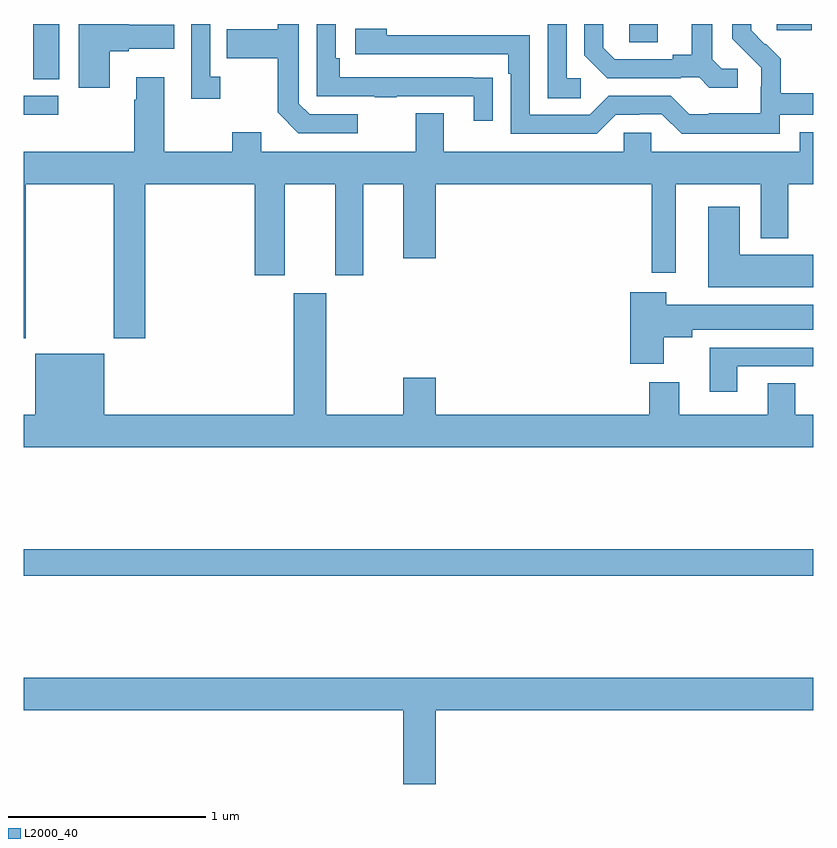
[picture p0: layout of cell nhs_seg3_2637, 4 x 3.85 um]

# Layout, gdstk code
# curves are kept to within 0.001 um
import gdstk
lib = gdstk.Library(unit=1e-6, precision=1e-09)
def R(c, l, rs):  # rectangles x0, y0, x1, y1
    for r in rs: c.add(gdstk.rectangle(r[:2], r[2:], *l))
def P(c, l, *ps):  # polygons
    for p in ps: c.add(gdstk.Polygon(p, *l))
L2000_40 = (2000, 40)

nhs_seg3_2637 = lib.new_cell('nhs_seg3_2637')
R(nhs_seg3_2637, L2000_40, [(247,693.604,251,693.74), (247,695.94,247.174,696.036), (247.049,696.121,247.18,696.4), (250.068,696.307,250.213,696.4), (250.814,696.369,250.993,696.4)])
P(nhs_seg3_2637, L2000_40, [(250.618,696.174),(250.536,696.174),(250.489,696.221),(250.489,696.4),(250.385,696.4),(250.385,696.245),(250.289,696.245),(250.289,696.222),(249.994,696.222),(249.937,696.279),(249.937,696.4),(249.84,696.4),(249.84,696.242),(249.956,696.126),(250.328,696.126),(250.328,696.129),(250.422,696.129),(250.474,696.077),(250.618,696.077)],
  [(249.377,696.128),(249.275,696.128),(249.275,696.129),(248.6,696.129),(248.6,696.226),(248.58,696.226),(248.58,696.4),(248.484,696.4),(248.484,696.033),(248.779,696.033),(248.779,696.028),(248.891,696.028),(248.891,696.033),(249.281,696.033),(249.281,695.91),(249.377,695.91)],
  [(249.823,696.126),(249.75,696.126),(249.75,696.4),(249.654,696.4),(249.654,696.025),(249.823,696.025)],
  [(248.692,695.943),(248.448,695.943),(248.394,695.997),(248.394,696.4),(248.286,696.4),(248.286,696.373),(248.029,696.373),(248.029,696.226),(248.286,696.226),(248.286,695.953),(248.391,695.847),(248.692,695.847)],
  [(247.996,696.134),(247.944,696.134),(247.944,696.4),(247.848,696.4),(247.848,696.021),(247.996,696.021)],
  [(247.435,696.263),(247.531,696.263),(247.531,696.275),(247.762,696.275),(247.762,696.397),(247.531,696.397),(247.531,696.4),(247.28,696.4),(247.28,696.078),(247.435,696.078)],
  [(250.83,695.94),(251,695.94),(251,696.049),(250.835,696.049),(250.835,696.223),(250.758,696.3),(250.755,696.297),(250.685,696.368),(250.685,696.4),(250.59,696.4),(250.59,696.326),(250.736,696.178),(250.736,696.081),(250.734,696.081),(250.734,695.947),(250.471,695.947),(250.471,695.943),(250.371,695.943),(250.278,696.036),(249.963,696.036),(249.867,695.94),(249.564,695.94),(249.564,696.342),(248.84,696.342),(248.84,696.376),(248.679,696.376),(248.679,696.246),(249.455,696.246),(249.455,696.149),(249.468,696.149),(249.468,695.844),(249.903,695.844),(249.999,695.94),(250.118,695.94),(250.118,695.943),(250.233,695.943),(250.333,695.843),(250.83,695.843)],
  [(247.011,695.588),(247.456,695.588),(247.456,694.809),(247.616,694.809),(247.616,695.588),(248.171,695.588),(248.171,695.127),(248.323,695.127),(248.323,695.588),(248.579,695.588),(248.579,695.127),(248.719,695.127),(248.719,695.588),(248.924,695.588),(248.924,695.214),(249.088,695.214),(249.088,695.588),(250.182,695.588),(250.182,695.139),(250.303,695.139),(250.303,695.588),(250.733,695.588),(250.733,695.315),(250.873,695.315),(250.873,695.588),(251,695.588),(251,695.851),(250.931,695.851),(250.931,695.752),(250.179,695.752),(250.179,695.85),(250.041,695.85),(250.041,695.752),(249.127,695.752),(249.127,695.947),(248.987,695.947),(248.987,695.752),(248.203,695.752),(248.203,695.851),(248.056,695.851),(248.056,695.752),(247.711,695.752),(247.711,696.13),(247.571,696.13),(247.571,696.017),(247.559,696.017),(247.559,695.752),(247,695.752),(247,694.809),(247.011,694.809)],
  [(251,695.23),(250.627,695.23),(250.627,695.473),(250.469,695.473),(250.469,695.066),(251,695.066)],
  [(250.243,694.814),(250.387,694.814),(250.387,694.85),(251,694.85),(251,694.978),(250.256,694.978),(250.256,695.041),(250.073,695.041),(250.073,694.68),(250.243,694.68)],
  [(251,694.42),(250.909,694.42),(250.909,694.58),(250.769,694.58),(250.769,694.42),(250.321,694.42),(250.321,694.585),(250.169,694.585),(250.169,694.42),(249.088,694.42),(249.088,694.609),(248.924,694.609),(248.924,694.42),(248.533,694.42),(248.533,695.035),(248.369,695.035),(248.369,694.42),(247.408,694.42),(247.408,694.729),(247.058,694.729),(247.058,694.42),(247,694.42),(247,694.256),(251,694.256)],
  [(250.615,694.665),(251,694.665),(251,694.761),(250.475,694.761),(250.475,694.536),(250.615,694.536)],
  [(249.088,692.924),(251,692.924),(251,693.088),(247,693.088),(247,692.924),(248.924,692.924),(248.924,692.55),(249.088,692.55)])

lib.write_gds('nhs_seg3_2637.gds')
